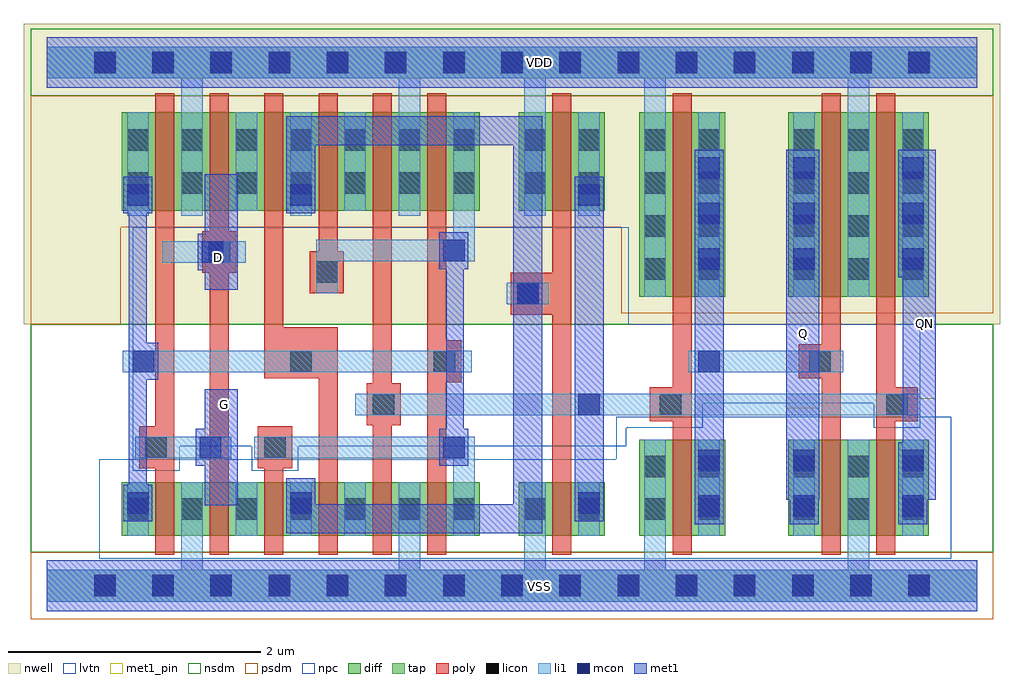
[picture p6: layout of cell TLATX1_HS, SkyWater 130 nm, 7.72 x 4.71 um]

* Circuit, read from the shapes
.subckt TLATX1_HS D G Q QN VDD VSS
XM1 VSS G n1 VSS sky130_fd_pr__nfet_01v8_lvt w=0.425 l=0.15
XM2 n2 D VSS VSS sky130_fd_pr__nfet_01v8_lvt w=0.425 l=0.15
XM3 n3 n4 n2 VSS sky130_fd_pr__nfet_01v8_lvt w=0.425 l=0.15
XM4 n5 n1 n3 VSS sky130_fd_pr__nfet_01v8_lvt w=0.425 l=0.15
XM5 VSS n6 n5 VSS sky130_fd_pr__nfet_01v8_lvt w=0.425 l=0.15
XM6 n4 n1 VSS VSS sky130_fd_pr__nfet_01v8_lvt w=0.425 l=0.15
XM7 n6 n3 VSS VSS sky130_fd_pr__nfet_01v8_lvt w=0.425 l=0.15
XM8 n7 n6 VSS VSS sky130_fd_pr__nfet_01v8_lvt w=0.76 l=0.15
XM9 VSS n7 Q VSS sky130_fd_pr__nfet_01v8_lvt w=0.76 l=0.15
XM10 QN n6 VSS VSS sky130_fd_pr__nfet_01v8_lvt w=0.76 l=0.15
XM11 VDD G n1 VDD sky130_fd_pr__pfet_01v8 w=0.78 l=0.15
XM12 n8 D VDD VDD sky130_fd_pr__pfet_01v8 w=0.78 l=0.15
XM13 n3 n1 n8 VDD sky130_fd_pr__pfet_01v8 w=0.78 l=0.15
XM14 n9 n4 n3 VDD sky130_fd_pr__pfet_01v8 w=0.78 l=0.15
XM15 VDD n6 n9 VDD sky130_fd_pr__pfet_01v8 w=0.78 l=0.15
XM16 n4 n1 VDD VDD sky130_fd_pr__pfet_01v8 w=0.78 l=0.15
XM17 n6 n3 VDD VDD sky130_fd_pr__pfet_01v8 w=0.78 l=0.15
XM18 n7 n6 VDD VDD sky130_fd_pr__pfet_01v8 w=1.46 l=0.15
XM19 VDD n7 Q VDD sky130_fd_pr__pfet_01v8 w=1.46 l=0.15
XM20 QN n6 VDD VDD sky130_fd_pr__pfet_01v8 w=1.46 l=0.15
.ends

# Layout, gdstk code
from math import pi, radians
import gdstk
lib = gdstk.Library(unit=1e-6, precision=1e-09)
def R(c, l, rs):  # rectangles x0, y0, x1, y1
    for r in rs: c.add(gdstk.rectangle(r[:2], r[2:], *l))
def A(c, l, x, y, w, h, nx, ny, dx, dy):  # array of equal rectangles
    R(c, l, [(x+i*dx, y+j*dy, x+i*dx+w, y+j*dy+h) for i in range(nx) for j in range(ny)])
def P(c, l, *ps):  # polygons
    for p in ps: c.add(gdstk.Polygon(p, *l))
nwell = (64, 20)
diff = (65, 20)
tap = (65, 44)
poly = (66, 20)
licon = (66, 44)
li1 = (67, 20)
mcon = (67, 44)
met1_pin = (68, 16)
met1 = (68, 20)
nsdm = (93, 44)
psdm = (94, 20)
npc = (95, 20)
lvtn = (125, 44)

pyl1con_c_cdns_758729172 = lib.new_cell('PYL1CON_C_CDNS_758729172862')
R(pyl1con_c_cdns_758729172, poly, [(-0.135,-0.165,0.135,0.165)])
R(pyl1con_c_cdns_758729172, licon, [(-0.085,-0.085,0.085,0.085)])
R(pyl1con_c_cdns_758729172, npc, [(-0.185,-0.185,0.185,0.185)])

c_pyl1con_c_cdns_758729172 = lib.new_cell('PYL1CON_C_CDNS_7587291728618')
R(c_pyl1con_c_cdns_758729172, poly, [(-0.135,-0.29,0.135,0.29)])
R(c_pyl1con_c_cdns_758729172, licon, [(-0.085,-0.085,0.085,0.085)])
R(c_pyl1con_c_cdns_758729172, npc, [(-0.185,-0.185,0.185,0.185)])

l1m1_c_cdns_758729172861 = lib.new_cell('L1M1_C_CDNS_758729172861')
R(l1m1_c_cdns_758729172861, li1, [(-0.085,-0.165,0.085,0.165)])
R(l1m1_c_cdns_758729172861, mcon, [(-0.085,-0.085,0.085,0.085)])
R(l1m1_c_cdns_758729172861, met1, [(-0.115,-0.145,0.115,0.145)])

l1m1_c_cdns_758729172860 = lib.new_cell('L1M1_C_CDNS_758729172860')
R(l1m1_c_cdns_758729172860, li1, [(-0.165,-0.085,0.165,0.085)])
R(l1m1_c_cdns_758729172860, mcon, [(-0.085,-0.085,0.085,0.085)])
R(l1m1_c_cdns_758729172860, met1, [(-0.115,-0.145,0.115,0.145)])

c_l1m1_c_cdns_758729172861 = lib.new_cell('L1M1_C_CDNS_7587291728613')
R(c_l1m1_c_cdns_758729172861, li1, [(-0.085,-0.525,0.085,0.525)])
A(c_l1m1_c_cdns_758729172861, mcon, -0.085, -0.445, 0.17, 0.17, 1, 3, 0, 0.36)
R(c_l1m1_c_cdns_758729172861, met1, [(-0.115,-0.505,0.115,0.505)])

l1m1_c_cdns_758729172864 = lib.new_cell('L1M1_C_CDNS_758729172864')
R(l1m1_c_cdns_758729172864, li1, [(-0.085,-0.345,0.085,0.345)])
R(l1m1_c_cdns_758729172864, mcon, [(-0.085,-0.265,0.085,-0.095), (-0.085,0.095,0.085,0.265)])
R(l1m1_c_cdns_758729172864, met1, [(-0.115,-0.325,0.115,0.325)])

tlatx1_hs = lib.new_cell('TLATX1_HS')
R(tlatx1_hs, nwell, [(-0.18,2.07,7.54,4.445)])
R(tlatx1_hs, diff, [(0.595,0.395,3.425,0.82), (3.735,0.395,4.415,0.82), (4.685,0.395,5.365,1.155), (5.865,0.395,6.975,1.155), (4.685,2.285,5.365,3.745), (5.865,2.285,6.975,3.745), (0.595,2.965,3.425,3.745), (3.735,2.965,4.415,3.745)])
R(tlatx1_hs, poly, [(0.86,0.245,1.01,3.895), (1.29,0.245,1.44,3.895), (1.72,0.245,1.87,0.97), (2.58,0.245,2.73,3.895), (3.01,0.245,3.16,3.895), (4.95,0.245,5.1,1.305), (6.13,0.245,6.28,3.895), (6.56,0.245,6.71,1.305), (6.56,1.445,6.71,3.895), (4.95,1.5,5.1,3.895), (2.15,2.51,2.3,3.895)])
P(tlatx1_hs, poly, [(2.3,2.045),(1.87,2.045),(1.87,3.895),(1.72,3.895),(1.72,1.895),(2.15,1.895),(2.15,0.245),(2.3,0.245)],
  [(4.15,3.895),(4,3.895),(4,2.475),(3.67,2.475),(3.67,2.145),(4,2.145),(4,0.245),(4.15,0.245)])
A(tlatx1_hs, licon, 0.375, -0.085, 0.17, 0.17, 15, 2, 0.46, 4.14)
A(tlatx1_hs, licon, 0.635, 0.52, 0.17, 0.17, 7, 2, 0.43, 2.58)
A(tlatx1_hs, licon, 5.905, 0.52, 0.17, 0.17, 3, 2, 0.43, 0.34)
A(tlatx1_hs, licon, 4.725, 2.42, 0.17, 0.17, 1, 4, 0, 0.34)
A(tlatx1_hs, licon, 5.155, 2.42, 0.17, 0.17, 1, 4, 0, 0.34)
A(tlatx1_hs, licon, 5.905, 2.42, 0.17, 0.17, 3, 4, 0.43, 0.34)
A(tlatx1_hs, licon, 0.635, 3.44, 0.17, 0.17, 7, 1, 0.43, 0)
R(tlatx1_hs, licon, [(3.775,0.52,3.945,0.69), (4.205,0.52,4.375,0.69), (4.725,0.52,4.895,0.69), (5.155,0.52,5.325,0.69), (4.725,0.86,4.895,1.03), (5.155,0.86,5.325,1.03), (3.775,3.1,3.945,3.27), (4.205,3.1,4.375,3.27), (3.775,3.44,3.945,3.61), (4.205,3.44,4.375,3.61)])
A(tlatx1_hs, li1, 1.495, 0.395, 0.17, 0.425, 3, 1, 0.43, 0)
A(tlatx1_hs, li1, 1.495, 2.965, 0.17, 0.78, 3, 1, 0.43, 0)
R(tlatx1_hs, li1, [(0.635,0.395,0.805,0.82), (4.205,0.395,4.375,0.82), (5.155,0.395,5.325,1.155), (5.905,0.395,6.075,1.155), (6.765,0.395,6.935,1.155), (5.155,2.285,5.325,3.745), (5.905,2.285,6.075,3.745), (6.765,2.285,6.935,3.745), (0.635,2.965,0.805,3.745), (4.205,2.965,4.375,3.745)])
P(tlatx1_hs, li1, [(3.385,1.095),(3.285,1.095),(3.285,1.18),(1.64,1.18),(1.64,1.01),(3.215,1.01),(3.215,0.395),(3.385,0.395)],
  [(3.385,3.745),(3.215,3.745),(3.215,2.735),(2.13,2.735),(2.13,2.315),(2.3,2.315),(2.3,2.565),(3.25,2.565),(3.25,2.65),(3.385,2.65)],
  [(7.36,4.265),(0,4.265),(0,4.015),(1.065,4.015),(1.065,2.925),(1.235,2.925),(1.235,4.015),(2.785,4.015),(2.785,2.925),(2.955,2.925),(2.955,4.015),(3.775,4.015),(3.775,2.925),(3.945,2.925),(3.945,4.015),(4.725,4.015),(4.725,2.285),(4.895,2.285),(4.895,4.015),(6.335,4.015),(6.335,2.285),(6.505,2.285),(6.505,4.015),(7.36,4.015)],
  [(7.36,0.125),(6.505,0.125),(6.505,1.155),(6.335,1.155),(6.335,0.125),(4.895,0.125),(4.895,1.155),(4.725,1.155),(4.725,0.125),(3.945,0.125),(3.945,0.82),(3.775,0.82),(3.775,0.125),(2.955,0.125),(2.955,0.82),(2.785,0.82),(2.785,0.125),(1.235,0.125),(1.235,0.82),(1.065,0.82),(1.065,0.125),(0,0.125),(0,-0.125),(7.36,-0.125)])
A(tlatx1_hs, mcon, 0.375, -0.085, 0.17, 0.17, 15, 2, 0.46, 4.14)
R(tlatx1_hs, met1_pin, [(1.25,0.635,1.51,1.555), (5.85,1.405,6.11,3.445), (6.77,1.48,7.03,3.45), (1.25,2.34,1.51,3.255)])
R(tlatx1_hs, met1, [(0,-0.2,7.36,0.2), (0,3.94,7.36,4.34)])
R(tlatx1_hs, nsdm, [(-0.125,0.265,7.485,2.07), (-0.125,3.875,7.485,4.405)])
R(tlatx1_hs, psdm, [(-0.125,-0.265,7.485,0.265)])
P(tlatx1_hs, psdm, [(7.485,3.875),(-0.125,3.875),(-0.125,2.07),(0.585,2.07),(0.585,2.835),(4.545,2.835),(4.545,2.155),(7.485,2.155)])
P(tlatx1_hs, npc, [(6.91,2.07),(4.605,2.07),(4.605,2.835),(0.68,2.835),(0.68,1.105),(4.585,1.105),(4.585,1.25),(5.19,1.25),(5.19,1.445),(6.91,1.445)])
P(tlatx1_hs, lvtn, [(7.155,1.335),(4.505,1.335),(4.505,1),(0.415,1),(0.415,0.215),(7.155,0.215)])
tlatx1_hs.add(gdstk.FlexPath([(0.65,1.775),(3.36,1.775)], 0.17, ends="flush", simple_path=True, layer=67, datatype=20))  # li1
tlatx1_hs.add(gdstk.FlexPath([(2.44,1.435),(6.91,1.435)], 0.17, ends="flush", simple_path=True, layer=67, datatype=20))  # li1
tlatx1_hs.add(gdstk.FlexPath([(0.915,2.64),(1.575,2.64)], 0.17, ends="flush", simple_path=True, layer=67, datatype=20))  # li1
tlatx1_hs.add(gdstk.FlexPath([(0.7,1.095),(1.245,1.095)], 0.17, ends="flush", simple_path=True, layer=67, datatype=20))  # li1
tlatx1_hs.add(gdstk.FlexPath([(5.25,1.775),(6.3,1.775)], 0.17, ends="flush", simple_path=True, layer=67, datatype=20))  # li1
tlatx1_hs.add(gdstk.FlexPath([(0,4.14),(7.36,4.14)], 0.25, ends="flush", simple_path=True, layer=65, datatype=44))  # tap
tlatx1_hs.add(gdstk.FlexPath([(0,0),(7.36,0)], 0.25, ends="flush", simple_path=True, layer=65, datatype=44))  # tap
tlatx1_hs.add(gdstk.FlexPath([(2.01,3.09),(2.01,3.6),(3.805,3.6),(3.805,0.53),(2.01,0.53),(2.01,0.85)], 0.23, ends="flush", simple_path=True, layer=68, datatype=20))  # met1
tlatx1_hs.add(gdstk.FlexPath([(3.23,2.72),(3.23,1.225)], 0.14, ends="flush", simple_path=True, layer=68, datatype=20))  # met1
tlatx1_hs.add(gdstk.FlexPath([(4.29,0.705),(4.29,3.235)], 0.23, ends="flush", simple_path=True, layer=68, datatype=20))  # met1
tlatx1_hs.add(gdstk.FlexPath([(1.38,2.34),(1.38,3.255)], 0.26, ends="flush", simple_path=True, layer=68, datatype=20))  # met1
tlatx1_hs.add(gdstk.FlexPath([(0.72,0.705),(0.72,3.235)], 0.14, ends="flush", simple_path=True, layer=68, datatype=20))  # met1
tlatx1_hs.add(gdstk.FlexPath([(1.38,0.635),(1.38,1.555)], 0.26, ends="flush", simple_path=True, layer=68, datatype=20))  # met1
tlatx1_hs.add(gdstk.FlexPath([(5.98,0.68),(5.98,3.45)], 0.26, ends="flush", simple_path=True, layer=68, datatype=20))  # met1
tlatx1_hs.add(gdstk.FlexPath([(6.9,0.68),(6.9,3.45)], 0.26, ends="flush", simple_path=True, layer=68, datatype=20))  # met1
tlatx1_hs.add(gdstk.FlexPath([(5.24,0.68),(5.24,3.45)], 0.23, ends="flush", simple_path=True, layer=68, datatype=20))  # met1
tlatx1_hs.add(gdstk.FlexPath([(0,4.14),(7.36,4.14)], 0.4, ends="flush", simple_path=True, layer=68, datatype=16))  # met1_pin
tlatx1_hs.add(gdstk.FlexPath([(0,0),(7.36,0)], 0.4, ends="flush", simple_path=True, layer=68, datatype=16))  # met1_pin
tlatx1_hs.add(gdstk.Reference(pyl1con_c_cdns_758729172, (4.935,1.435), rotation=pi/2, x_reflection=True))
tlatx1_hs.add(gdstk.Reference(pyl1con_c_cdns_758729172, (3.145,1.775)))
tlatx1_hs.add(gdstk.Reference(pyl1con_c_cdns_758729172, (1.805,1.095), x_reflection=True))
tlatx1_hs.add(gdstk.Reference(pyl1con_c_cdns_758729172, (6.725,1.435), rotation=pi/2, x_reflection=True))
tlatx1_hs.add(gdstk.Reference(pyl1con_c_cdns_758729172, (6.115,1.775), rotation=pi/2, x_reflection=True))
tlatx1_hs.add(gdstk.Reference(pyl1con_c_cdns_758729172, (2.215,2.48), rotation=pi))
tlatx1_hs.add(gdstk.Reference(pyl1con_c_cdns_758729172, (1.365,2.64), x_reflection=True))
tlatx1_hs.add(gdstk.Reference(pyl1con_c_cdns_758729172, (0.865,1.095), rotation=pi))
tlatx1_hs.add(gdstk.Reference(pyl1con_c_cdns_758729172, (3.805,2.31), x_reflection=True))
tlatx1_hs.add(gdstk.Reference(pyl1con_c_cdns_758729172, (2.665,1.435), rotation=pi))
tlatx1_hs.add(gdstk.Reference(c_pyl1con_c_cdns_758729172, (2.01,1.775), rotation=pi/2, x_reflection=True))
tlatx1_hs.add(gdstk.Reference(l1m1_c_cdns_758729172861, (2.01,3.09), rotation=pi, x_reflection=True))
tlatx1_hs.add(gdstk.Reference(l1m1_c_cdns_758729172861, (2.01,0.655), rotation=pi, x_reflection=True))
tlatx1_hs.add(gdstk.Reference(l1m1_c_cdns_758729172861, (4.29,0.655), rotation=pi, x_reflection=True))
tlatx1_hs.add(gdstk.Reference(l1m1_c_cdns_758729172861, (4.29,3.09), rotation=pi, x_reflection=True))
tlatx1_hs.add(gdstk.Reference(l1m1_c_cdns_758729172861, (0.72,0.655), rotation=pi, x_reflection=True))
tlatx1_hs.add(gdstk.Reference(l1m1_c_cdns_758729172861, (0.72,3.09), rotation=pi, x_reflection=True))
tlatx1_hs.add(gdstk.Reference(l1m1_c_cdns_758729172860, (3.22,2.65)))
tlatx1_hs.add(gdstk.Reference(l1m1_c_cdns_758729172860, (4.29,1.435)))
tlatx1_hs.add(gdstk.Reference(l1m1_c_cdns_758729172860, (1.31,2.64), x_reflection=True))
tlatx1_hs.add(gdstk.Reference(l1m1_c_cdns_758729172860, (3.22,1.095)))
tlatx1_hs.add(gdstk.Reference(l1m1_c_cdns_758729172860, (1.295,1.095), x_reflection=True))
tlatx1_hs.add(gdstk.Reference(l1m1_c_cdns_758729172860, (0.765,1.775), rotation=pi, x_reflection=True))
tlatx1_hs.add(gdstk.Reference(l1m1_c_cdns_758729172860, (3.805,2.31)))
tlatx1_hs.add(gdstk.Reference(l1m1_c_cdns_758729172860, (5.24,1.775), x_reflection=True))
tlatx1_hs.add(gdstk.Reference(c_l1m1_c_cdns_758729172861, (5.99,2.945)))
tlatx1_hs.add(gdstk.Reference(c_l1m1_c_cdns_758729172861, (6.85,2.945)))
tlatx1_hs.add(gdstk.Reference(c_l1m1_c_cdns_758729172861, (5.24,2.945)))
tlatx1_hs.add(gdstk.Reference(l1m1_c_cdns_758729172864, (5.99,0.81)))
tlatx1_hs.add(gdstk.Reference(l1m1_c_cdns_758729172864, (6.85,0.81)))
tlatx1_hs.add(gdstk.Reference(l1m1_c_cdns_758729172864, (5.24,0.81)))
tlatx1_hs.add(gdstk.Label('VDD', (3.9,4.14), layer=68, texttype=5))
tlatx1_hs.add(gdstk.Label('VSS', (3.9,-0.005), layer=68, texttype=5))
tlatx1_hs.add(gdstk.Label('G', (1.402,1.434), layer=68, texttype=5))
tlatx1_hs.add(gdstk.Label('Q', (5.982,1.999), layer=68, texttype=5))
tlatx1_hs.add(gdstk.Label('QN', (6.942,2.074), layer=68, texttype=5))
tlatx1_hs.add(gdstk.Label('D', (1.355,2.6), layer=68, texttype=5))

lib.write_gds('TLATX1_HS.gds')
